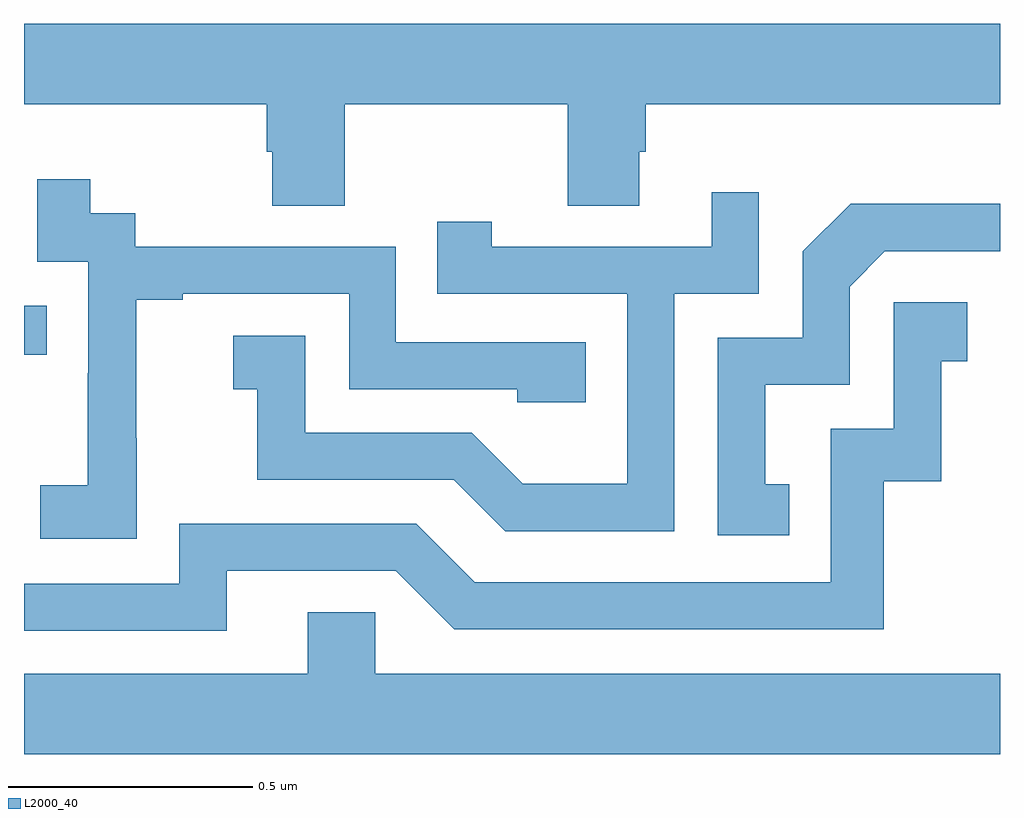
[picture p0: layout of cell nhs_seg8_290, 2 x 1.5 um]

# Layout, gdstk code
import gdstk
lib = gdstk.Library(unit=1e-6, precision=1e-09)
def R(c, l, rs):  # rectangles x0, y0, x1, y1
    for r in rs: c.add(gdstk.rectangle(r[:2], r[2:], *l))
def P(c, l, *ps):  # polygons
    for p in ps: c.add(gdstk.Polygon(p, *l))
L2000_40 = (2000, 40)

nhs_seg8_290 = lib.new_cell('nhs_seg8_290')
R(nhs_seg8_290, L2000_40, [(114,1139.962,114.047,1140.063)])
P(nhs_seg8_290, L2000_40, [(114.657,1140.476),(115.114,1140.476),(115.114,1140.268),(115.261,1140.268),(115.261,1140.378),(115.274,1140.378),(115.274,1140.476),(116,1140.476),(116,1140.64),(114,1140.64),(114,1140.476),(114.497,1140.476),(114.497,1140.378),(114.509,1140.378),(114.509,1140.268),(114.657,1140.268)],
  [(114.231,1139.791),(114.23,1139.791),(114.23,1140.075),(114.325,1140.075),(114.325,1140.087),(114.666,1140.087),(114.666,1139.892),(115.011,1139.892),(115.011,1139.865),(115.151,1139.865),(115.151,1139.988),(114.762,1139.988),(114.762,1140.183),(114.228,1140.183),(114.228,1140.252),(114.136,1140.252),(114.136,1140.322),(114.027,1140.322),(114.027,1140.153),(114.132,1140.153),(114.132,1139.924),(114.131,1139.924),(114.131,1139.695),(114.033,1139.695),(114.033,1139.585),(114.231,1139.585)],
  [(115.332,1140.087),(115.506,1140.087),(115.506,1140.295),(115.409,1140.295),(115.409,1140.183),(114.958,1140.183),(114.958,1140.235),(114.847,1140.235),(114.847,1140.087),(115.236,1140.087),(115.236,1139.698),(115.022,1139.698),(114.918,1139.802),(114.576,1139.802),(114.576,1140.001),(114.429,1140.001),(114.429,1139.891),(114.478,1139.891),(114.478,1139.706),(114.881,1139.706),(114.986,1139.601),(115.332,1139.601)],
  [(115.568,1139.697),(115.519,1139.697),(115.519,1139.901),(115.692,1139.901),(115.692,1140.102),(115.764,1140.174),(116,1140.174),(116,1140.272),(115.694,1140.272),(115.596,1140.174),(115.596,1139.997),(115.422,1139.997),(115.422,1139.592),(115.568,1139.592)],
  [(114.415,1139.52),(114.762,1139.52),(114.882,1139.4),(115.762,1139.4),(115.762,1139.703),(115.88,1139.703),(115.88,1139.949),(115.933,1139.949),(115.933,1140.07),(115.782,1140.07),(115.782,1139.811),(115.653,1139.811),(115.653,1139.496),(114.924,1139.496),(114.804,1139.616),(114.318,1139.616),(114.318,1139.493),(114,1139.493),(114,1139.397),(114.415,1139.397)],
  [(116,1139.308),(114.72,1139.308),(114.72,1139.435),(114.581,1139.435),(114.581,1139.308),(114,1139.308),(114,1139.144),(116,1139.144)])

lib.write_gds('nhs_seg8_290.gds')
